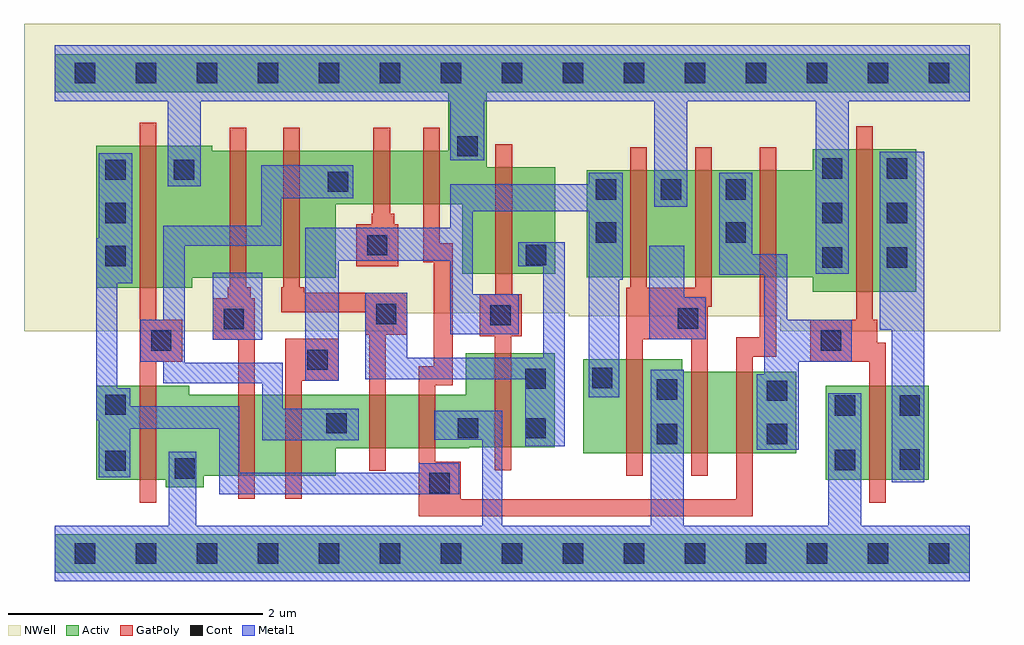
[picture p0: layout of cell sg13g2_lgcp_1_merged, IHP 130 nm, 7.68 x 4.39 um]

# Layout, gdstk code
import gdstk
lib = gdstk.Library(unit=1e-6, precision=1e-09)
def R(c, l, rs):  # rectangles x0, y0, x1, y1
    for r in rs: c.add(gdstk.rectangle(r[:2], r[2:], *l))
def A(c, l, x, y, w, h, nx, ny, dx, dy):  # array of equal rectangles
    R(c, l, [(x+i*dx, y+j*dy, x+i*dx+w, y+j*dy+h) for i in range(nx) for j in range(ny)])
def P(c, l, *ps):  # polygons
    for p in ps: c.add(gdstk.Polygon(p, *l))
Activ = (1, 0)
GatPoly = (5, 0)
Cont = (6, 0)
Metal1 = (8, 0)
NWell = (31, 0)

sg13g2_lgcp_1_merged = lib.new_cell('sg13g2_lgcp_1_merged')
R(sg13g2_lgcp_1_merged, Activ, [(0,-0.15,7.2,0.15), (6.07,0.58,6.88,1.32)])
P(sg13g2_lgcp_1_merged, Activ, [(4.16,0.79),(4.16,1.53),(4.94,1.53),(4.94,1.43),(5.835,1.43),(5.835,0.79)],
  [(0.875,0.52),(0.875,0.58),(0.33,0.58),(0.33,1.32),(1.06,1.32),(1.06,1.25),(3.235,1.25),(3.235,1.575),(3.935,1.575),(3.935,0.835),(3.265,0.835),(3.265,0.83),(2.215,0.83),(2.215,0.61),(1.175,0.61),(1.175,0.52)],
  [(5.965,2.06),(5.965,2.175),(4.19,2.175),(4.19,3.015),(5.965,3.015),(5.965,3.18),(6.78,3.18),(6.78,2.06)],
  [(0.33,2.09),(0.33,3.21),(1.24,3.21),(1.24,3.17),(3.1,3.17),(3.1,3.63),(0,3.63),(0,3.93),(7.2,3.93),(7.2,3.63),(3.4,3.63),(3.4,3.04),(3.94,3.04),(3.94,2.2),(3.21,2.2),(3.21,2.75),(2.215,2.75),(2.215,2.17),(1.085,2.17),(1.085,2.09)])
P(sg13g2_lgcp_1_merged, GatPoly, [(1.815,0.43),(1.815,1.69),(2.235,1.69),(2.235,1.36),(1.945,1.36),(1.945,0.43)],
  [(4.5,0.61),(4.5,2.09),(4.53,2.09),(4.53,3.195),(4.66,3.195),(4.66,2.09),(5.04,2.09),(5.04,3.195),(5.17,3.195),(5.17,1.94),(5.14,1.94),(5.14,0.61),(5.01,0.61),(5.01,1.685),(4.63,1.685),(4.63,0.61)],
  [(3.465,0.655),(3.465,1.71),(3.345,1.71),(3.345,2.04),(3.47,2.04),(3.47,3.22),(3.6,3.22),(3.6,2.04),(3.675,2.04),(3.675,1.71),(3.595,1.71),(3.595,0.655)],
  [(1.445,0.43),(1.445,1.68),(1.245,1.68),(1.245,2.01),(1.365,2.01),(1.365,2.095),(1.38,2.095),(1.38,3.35),(1.51,3.35),(1.51,2.095),(1.545,2.095),(1.545,2.01),(1.575,2.01),(1.575,0.43)],
  [(2.475,0.65),(2.475,1.72),(2.445,1.72),(2.445,1.9),(1.785,1.9),(1.785,2.095),(1.8,2.095),(1.8,3.35),(1.93,3.35),(1.93,2.095),(1.965,2.095),(1.965,2.05),(2.775,2.05),(2.775,1.72),(2.605,1.72),(2.605,0.65)],
  [(2.375,2.26),(2.375,2.59),(2.495,2.59),(2.495,2.675),(2.51,2.675),(2.51,3.35),(2.64,3.35),(2.64,2.675),(2.675,2.675),(2.675,2.59),(2.705,2.59),(2.705,2.26)],
  [(2.865,0.295),(2.865,1.475),(2.985,1.475),(2.985,2.29),(2.9,2.29),(2.9,3.35),(3.03,3.35),(3.03,2.44),(3.135,2.44),(3.135,1.325),(2.995,1.325),(2.995,0.72),(3.195,0.72),(3.195,0.425),(5.365,0.425),(5.365,1.7),(5.55,1.7),(5.55,3.195),(5.68,3.195),(5.68,1.55),(5.495,1.55),(5.495,0.295)],
  [(6.41,0.4),(6.41,1.51),(5.945,1.51),(5.945,1.84),(6.31,1.84),(6.31,3.36),(6.44,3.36),(6.44,1.84),(6.475,1.84),(6.475,1.66),(6.54,1.66),(6.54,0.4)],
  [(0.67,0.4),(0.67,3.39),(0.8,3.39),(0.8,1.84),(1.005,1.84),(1.005,1.51),(0.8,1.51),(0.8,0.4)])
A(sg13g2_lgcp_1_merged, Cont, 0.16, -0.08, 0.16, 0.16, 15, 2, 0.48, 3.78)
A(sg13g2_lgcp_1_merged, Cont, 6.04, 2.25, 0.16, 0.16, 1, 3, 0, 0.35)
A(sg13g2_lgcp_1_merged, Cont, 6.55, 2.25, 0.16, 0.16, 1, 3, 0, 0.35)
A(sg13g2_lgcp_1_merged, Cont, 0.4, 2.26, 0.16, 0.16, 1, 3, 0, 0.34)
A(sg13g2_lgcp_1_merged, Cont, 4.26, 2.785, 0.16, 0.16, 3, 1, 0.51, 0)
R(sg13g2_lgcp_1_merged, Cont, [(2.95,0.475,3.11,0.635), (0.945,0.59,1.105,0.75), (0.4,0.65,0.56,0.81), (6.14,0.655,6.3,0.815), (6.65,0.66,6.81,0.82), (4.74,0.86,4.9,1.02), (5.605,0.86,5.765,1.02), (3.175,0.905,3.335,1.065), (3.705,0.905,3.865,1.065), (2.14,0.945,2.3,1.105), (6.14,1.085,6.3,1.245), (6.65,1.085,6.81,1.245), (0.4,1.09,0.56,1.25), (5.605,1.2,5.765,1.36), (4.74,1.21,4.9,1.37), (3.705,1.295,3.865,1.455), (4.23,1.3,4.39,1.46), (1.99,1.445,2.15,1.605), (0.76,1.595,0.92,1.755), (6.03,1.595,6.19,1.755), (1.33,1.765,1.49,1.925), (4.905,1.77,5.065,1.93), (3.43,1.795,3.59,1.955), (2.53,1.805,2.69,1.965), (3.71,2.27,3.87,2.43), (2.46,2.345,2.62,2.505), (4.26,2.445,4.42,2.605), (5.28,2.445,5.44,2.605), (2.15,2.845,2.31,3.005), (0.94,2.94,1.1,3.1), (3.17,3.125,3.33,3.285)])
R(sg13g2_lgcp_1_merged, Metal1, [(1.245,1.68,1.635,2.21)])
P(sg13g2_lgcp_1_merged, Metal1, [(0,-0.22),(0,0.22),(0.9,0.22),(0.9,0.8),(1.115,0.8),(1.115,0.22),(3.365,0.22),(3.365,0.895),(2.99,0.895),(2.99,1.125),(3.525,1.125),(3.525,0.22),(4.69,0.22),(4.69,1.445),(4.95,1.445),(4.95,0.22),(6.09,0.22),(6.09,1.26),(6.35,1.26),(6.35,0.22),(7.2,0.22),(7.2,-0.22)],
  [(4.68,1.685),(4.68,2.42),(4.955,2.42),(4.955,2.015),(5.125,2.015),(5.125,1.685)],
  [(3.705,0.845),(3.705,1.37),(2.445,1.37),(2.445,2.05),(2.775,2.05),(2.775,1.54),(3.845,1.54),(3.845,2.26),(3.65,2.26),(3.65,2.45),(4.015,2.45),(4.015,0.845)],
  [(4.205,1.23),(4.205,2.695),(3.29,2.695),(3.29,2.04),(3.655,2.04),(3.655,1.725),(3.115,1.725),(3.115,2.305),(2.235,2.305),(2.235,1.36),(1.975,1.36),(1.975,2.565),(3.115,2.565),(3.115,2.905),(4.205,2.905),(4.205,2.995),(4.47,2.995),(4.47,2.155),(4.445,2.155),(4.445,1.23)],
  [(5.525,0.815),(5.525,1.41),(5.585,1.41),(5.585,2.195),(5.23,2.195),(5.23,2.995),(5.49,2.995),(5.49,2.355),(5.765,2.355),(5.765,1.84),(6.275,1.84),(6.275,1.51),(5.855,1.51),(5.855,0.815)],
  [(1.635,0.89),(1.635,1.34),(0.855,1.34),(0.855,1.51),(0.675,1.51),(0.675,1.84),(0.855,1.84),(0.855,2.58),(1.625,2.58),(1.625,3.055),(2.35,3.055),(2.35,2.795),(1.785,2.795),(1.785,2.42),(1.025,2.42),(1.025,1.5),(1.795,1.5),(1.795,1.14),(2.395,1.14),(2.395,0.89)],
  [(1.295,0.465),(1.295,0.98),(0.595,0.98),(0.595,0.6),(0.35,0.6),(0.35,1.05),(0.33,1.05),(0.33,2.48),(0.35,2.48),(0.35,3.15),(0.61,3.15),(0.61,2.125),(0.495,2.125),(0.495,1.3),(0.595,1.3),(0.595,1.16),(1.455,1.16),(1.455,0.635),(2.865,0.635),(2.865,0.71),(3.185,0.71),(3.185,0.465)],
  [(6.59,0.56),(6.59,1.76),(6.495,1.76),(6.495,3.16),(6.845,3.16),(6.845,0.56)],
  [(5.99,2.2),(5.99,3.56),(4.98,3.56),(4.98,2.73),(4.72,2.73),(4.72,3.56),(3.38,3.56),(3.38,3.095),(3.115,3.095),(3.115,3.56),(1.15,3.56),(1.15,2.89),(0.89,2.89),(0.89,3.56),(0,3.56),(0,4),(7.2,4),(7.2,3.56),(6.25,3.56),(6.25,2.2)])
P(sg13g2_lgcp_1_merged, NWell, [(-0.24,1.75),(-0.24,4.17),(7.44,4.17),(7.44,1.75),(5.71,1.75),(5.71,1.865),(4.045,1.865),(4.045,1.89),(2.67,1.89),(2.67,1.75)])

lib.write_gds('sg13g2_lgcp_1_merged.gds')
